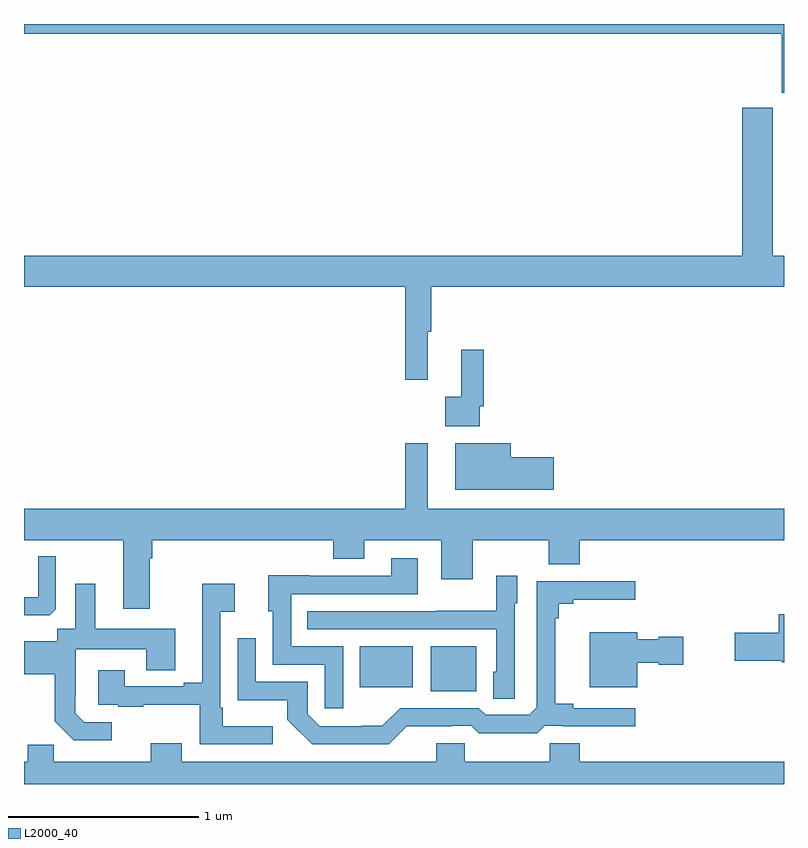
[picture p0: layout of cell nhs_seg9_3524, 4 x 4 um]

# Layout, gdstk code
import gdstk
lib = gdstk.Library(unit=1e-6, precision=1e-09)
def R(c, l, rs):  # rectangles x0, y0, x1, y1
    for r in rs: c.add(gdstk.rectangle(r[:2], r[2:], *l))
def P(c, l, *ps):  # polygons
    for p in ps: c.add(gdstk.Polygon(p, *l))
L2000_40 = (2000, 40)

nhs_seg9_3524 = lib.new_cell('nhs_seg9_3524')
R(nhs_seg9_3524, L2000_40, [(315.14,1164.989,315.379,1165.225), (314.768,1165.01,315.046,1165.225)])
P(nhs_seg9_3524, L2000_40, [(317,1168.5),(313,1168.5),(313,1168.448),(316.988,1168.448),(316.988,1168.139),(317,1168.139)],
  [(315.125,1166.88),(315.143,1166.88),(315.143,1167.116),(317,1167.116),(317,1167.28),(316.941,1167.28),(316.941,1168.06),(316.781,1168.06),(316.781,1167.28),(313,1167.28),(313,1167.116),(315.007,1167.116),(315.007,1166.628),(315.125,1166.628)],
  [(315.399,1166.488),(315.419,1166.488),(315.419,1166.785),(315.302,1166.785),(315.302,1166.537),(315.216,1166.537),(315.216,1166.384),(315.399,1166.384)],
  [(313.663,1165.688),(313.676,1165.688),(313.676,1165.784),(314.627,1165.784),(314.627,1165.685),(314.791,1165.685),(314.791,1165.784),(315.197,1165.784),(315.197,1165.578),(315.361,1165.578),(315.361,1165.784),(315.761,1165.784),(315.761,1165.656),(315.925,1165.656),(315.925,1165.784),(317,1165.784),(317,1165.948),(315.124,1165.948),(315.124,1166.293),(315.007,1166.293),(315.007,1165.948),(313,1165.948),(313,1165.784),(313.523,1165.784),(313.523,1165.422),(313.663,1165.422)],
  [(315.787,1166.219),(315.562,1166.219),(315.562,1166.293),(315.269,1166.293),(315.269,1166.048),(315.787,1166.048)],
  [(313.167,1165.419),(313.167,1165.699),(313.074,1165.699),(313.074,1165.482),(313,1165.482),(313,1165.388),(313.135,1165.388)],
  [(314.679,1165.224),(314.406,1165.224),(314.406,1165.5),(315.073,1165.5),(315.073,1165.687),(314.933,1165.687),(314.933,1165.596),(314.503,1165.596),(314.503,1165.598),(314.285,1165.598),(314.285,1165.41),(314.31,1165.41),(314.31,1165.128),(314.583,1165.128),(314.583,1164.9),(314.679,1164.9)],
  [(315.582,1165.452),(315.595,1165.452),(315.595,1165.597),(315.486,1165.597),(315.486,1165.411),(315.169,1165.411),(315.169,1165.41),(314.491,1165.41),(314.491,1165.314),(315.486,1165.314),(315.486,1165.092),(315.47,1165.092),(315.47,1164.949),(315.582,1164.949)],
  [(315.014,1164.803),(315.254,1164.803),(315.254,1164.807),(315.354,1164.807),(315.394,1164.768),(315.701,1164.768),(315.741,1164.807),(315.835,1164.807),(315.835,1164.803),(316.216,1164.803),(316.216,1164.9),(315.892,1164.9),(315.892,1164.923),(315.797,1164.923),(315.797,1165.373),(315.815,1165.373),(315.815,1165.45),(315.892,1165.45),(315.892,1165.469),(316.216,1165.469),(316.216,1165.566),(315.699,1165.566),(315.699,1164.903),(315.66,1164.864),(315.429,1164.864),(315.393,1164.9),(314.979,1164.9),(314.885,1164.806),(314.78,1164.806),(314.78,1164.804),(314.556,1164.804),(314.493,1164.867),(314.493,1165.038),(314.22,1165.038),(314.22,1165.267),(314.124,1165.267),(314.124,1164.941),(314.386,1164.941),(314.386,1164.839),(314.516,1164.708),(314.919,1164.708)],
  [(314.308,1164.805),(314.047,1164.805),(314.047,1164.901),(314.034,1164.901),(314.034,1165.406),(314.11,1165.406),(314.11,1165.555),(313.937,1165.555),(313.937,1165.033),(313.841,1165.033),(313.841,1165.014),(313.531,1165.014),(313.531,1165.099),(313.391,1165.099),(313.391,1164.918),(313.495,1164.918),(313.495,1164.906),(313.627,1164.906),(313.627,1164.917),(313.926,1164.917),(313.926,1164.708),(314.308,1164.708)],
  [(313.462,1164.825),(313.317,1164.825),(313.27,1164.872),(313.27,1164.967),(313.272,1164.967),(313.272,1165.208),(313.643,1165.208),(313.643,1165.099),(313.795,1165.099),(313.795,1165.318),(313.375,1165.318),(313.375,1165.555),(313.271,1165.555),(313.271,1165.316),(313.176,1165.316),(313.176,1165.252),(313,1165.252),(313,1165.077),(313.161,1165.077),(313.161,1164.831),(313.261,1164.731),(313.462,1164.731)],
  [(317,1165.393),(316.973,1165.393),(316.973,1165.295),(316.74,1165.295),(316.74,1165.148),(316.989,1165.148),(316.989,1165.142),(317,1165.142)],
  [(316.228,1165.139),(316.341,1165.139),(316.341,1165.127),(316.471,1165.127),(316.471,1165.274),(316.341,1165.274),(316.341,1165.261),(316.228,1165.261),(316.228,1165.3),(315.977,1165.3),(315.977,1165.01),(316.228,1165.01)],
  [(315.926,1164.714),(315.766,1164.714),(315.766,1164.616),(315.321,1164.616),(315.321,1164.714),(315.17,1164.714),(315.17,1164.616),(313.831,1164.616),(313.831,1164.715),(313.667,1164.715),(313.667,1164.616),(313.157,1164.616),(313.157,1164.707),(313.019,1164.707),(313.019,1164.616),(313,1164.616),(313,1164.5),(317,1164.5),(317,1164.616),(315.926,1164.616)])

lib.write_gds('nhs_seg9_3524.gds')
